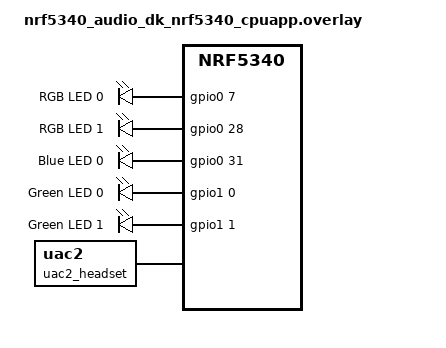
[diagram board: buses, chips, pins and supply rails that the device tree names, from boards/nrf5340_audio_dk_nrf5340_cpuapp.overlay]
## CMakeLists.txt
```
#
# Copyright (c) 2022 Nordic Semiconductor ASA
#
# SPDX-License-Identifier: LicenseRef-Nordic-5-Clause
#

cmake_minimum_required(VERSION 3.20.0)

# Flag which defines whether application is compiled as gateway/dongle or headset
add_compile_definitions(HEADSET=1)
add_compile_definitions(GATEWAY=2)

find_package(Zephyr REQUIRED HINTS $ENV{ZEPHYR_BASE})

# Test a configuration file option has been given
if(NOT DEFINED EXTRA_CONF_FILE)
    message(FATAL_ERROR "No configuration file specified, set -- -DEXTRA_CONF_FILE=<configuration file>")
endif()

project(NRF5340_AUDIO)

string(TIMESTAMP NRF5340_AUDIO_CORE_APP_COMP_DATE "%a %b %d %H:%M:%S %Y")

# Generate fw_info_app.c
configure_file("${CMAKE_CURRENT_SOURCE_DIR}/src/utils/fw_info_app.c.in"
               "${CMAKE_BINARY_DIR}/fw_info_app.c"
               @ONLY)

# Target sources below are specific to the nRF5340 Audio DK HW
target_sources(app PRIVATE
    ${CMAKE_BINARY_DIR}/fw_info_app.c
    )

if (CONFIG_BT_BAP_BROADCAST_SINK)
	add_subdirectory(broadcast_sink)
endif()

if (CONFIG_BT_BAP_BROADCAST_SOURCE)
	add_subdirectory(broadcast_source)
endif()

if (CONFIG_BT_BAP_UNICAST_CLIENT)
	add_subdirectory(unicast_client)
endif()

if (CONFIG_BT_BAP_UNICAST_SERVER)
	add_subdirectory(unicast_server)
endif()

include(${ZEPHYR_BASE}/samples/subsys/usb/common/common.cmake)

# Include application events and configuration headers
zephyr_library_include_directories(
    include
    src/audio
    src/bluetooth
    src/drivers
    src/modules
    src/utils
    src/utils/macros
)

zephyr_library_include_directories(app PRIVATE
    ${ZEPHYR_NRF_MODULE_DIR}/boards/arm/nrf5340_audio_dk_nrf5340)

# Application sources
add_subdirectory(src/audio)
add_subdirectory(src/bluetooth)
add_subdirectory(src/drivers)
add_subdirectory(src/modules)
add_subdirectory(src/utils)

## Cirrus Logic
if (CONFIG_HW_CODEC_CIRRUS_LOGIC)
    if (ZEPHYR_CIRRUS_LOGIC_MODULE_DIR)
        add_subdirectory(${ZEPHYR_CIRRUS_LOGIC_MODULE_DIR} cirrus_logic_bin_dir)
    else()
        message(FATAL_ERROR "Cirrus Logic/sdk-mcu-drivers repository not found\n")
    endif()
endif()
```

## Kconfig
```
#
# Copyright (c) 2018 Nordic Semiconductor ASA
#
# SPDX-License-Identifier: LicenseRef-Nordic-5-Clause
#

menuconfig NRF5340_AUDIO
	 bool "nRF5340 Audio [EXPERIMENTAL]"
	 select EXPERIMENTAL

if NRF5340_AUDIO

config CUSTOM_BROADCASTER
	bool "Allow custom broadcasters"
	default n
	help
	  Incomplete feature for now, but will introduce support for multiple BIGs and subgroups.

config AUDIO_DEV
	int "Select which device type to compile for. 1=HEADSET or 2=GATEWAY"
	range 1 2
	default 1
	help
	  Setting this variable to 1 selects that the project is compiled
	  as a HEADSET device.
	  Setting to 2 will compile as a GATEWAY.

choice NRF5340_AUDIO_TRANSPORT_MODE
	prompt "Choose BIS or CIS for ISO transport"
	default TRANSPORT_CIS if WALKIE_TALKIE_DEMO
	default TRANSPORT_CIS

config TRANSPORT_BIS
	bool "Use BIS (Broadcast Isochronous Stream)"

config TRANSPORT_CIS
	bool "Use CIS (Connected Isochronous Stream)"

endchoice

#----------------------------------------------------------------------------#
rsource "Kconfig.defaults"
rsource "src/audio/Kconfig"
rsource "src/bluetooth/Kconfig"
rsource "src/drivers/Kconfig"
rsource "src/modules/Kconfig"
rsource "src/utils/Kconfig"

#----------------------------------------------------------------------------#
menu "Logging"

module = MAIN
module-str = main
source "subsys/logging/Kconfig.template.log_config"

config PRINT_STACK_USAGE_MS
	depends on THREAD_ANALYZER && INIT_STACKS
	int "Print stack usage every x milliseconds"
	default 5000

endmenu # Log levels

#----------------------------------------------------------------------------#
endif # NRF5340_AUDIO

source "${ZEPHYR_BASE}/samples/subsys/usb/common/Kconfig.sample_usbd"
source "Kconfig.zephyr"
```

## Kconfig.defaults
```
#
# Copyright (c) 2022 Nordic Semiconductor ASA
#
# SPDX-License-Identifier: LicenseRef-Nordic-5-Clause
#

config REBOOT
	default y

config MAIN_THREAD_PRIORITY
	default 10

config MAIN_STACK_SIZE
	default 1800 if SD_CARD_PLAYBACK
	default 1600

config SYSTEM_WORKQUEUE_STACK_SIZE
	default 1200

# As long as thread names are used, config must be set to "y"
config THREAD_NAME
	default y

# Workaround to not use fatal_error.c in NCS. Note that the system may still
# reset on error depending on the build configuraion
config RESET_ON_FATAL_ERROR
	default n

# Default Config for Debug and Release build
config BT
	default y

config ZBUS
	default y

config ZBUS_RUNTIME_OBSERVERS
	default y

config ZBUS_MSG_SUBSCRIBER
	default y

config SENSOR
	default n

config REGULATOR
	default n

config CONTIN_ARRAY
	default y

config NRFX_I2S0
	default n

config PCM_MIX
	default y

config PSCM
	default y

# Enable NRFX_CLOCK for ACLK control
config NRFX_CLOCK
	default n

config I2C
	default n

# Audio codec LC3 related defines
# FPU_SHARING enables preservation of the hardware floating point registers
# across context switches to allow multiple threads to perform concurrent
# floating point operations.
config FPU
	default y

config FPU_SHARING
	default y

# Enable SDHC interface
config DISK_DRIVERS
	default n

config DISK_DRIVER_SDMMC
	default n

# Enable SPI interface
config SPI
	default n

# Enable ADC for board version readback
config ADC
	default n

# Allocate buffer on RAM for transferring chunck of data
# from Flash to SPI
config SPI_NRFX_RAM_BUFFER_SIZE
	default 8

# Config the file system
config FILE_SYSTEM
	default n

config FAT_FILESYSTEM_ELM
	default n

config FS_FATFS_LFN
	default n
choice FS_FATFS_LFN_MODE
	# Using stack for LFN work queue
	default FS_FATFS_LFN_MODE_STACK
endchoice

# exFAT enabled to support longer file names and higher transfer speed
config FS_FATFS_EXFAT
	default n

config WATCHDOG
	default n

config TASK_WDT
	default n
```

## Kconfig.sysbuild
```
#
# Copyright (c) 2024 Nordic Semiconductor
#
# SPDX-License-Identifier: LicenseRef-Nordic-5-Clause
#

source "${ZEPHYR_BASE}/share/sysbuild/Kconfig"

config NRF_DEFAULT_IPC_RADIO
	default y

config NETCORE_IPC_RADIO_BT_HCI_IPC
	default y

source "share/sysbuild/Kconfig"
```

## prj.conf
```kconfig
#
# Copyright (c) 2022 Nordic Semiconductor ASA
#
# SPDX-License-Identifier: LicenseRef-Nordic-5-Clause
#

# nRF5340 Audio
CONFIG_NRF5340_AUDIO=y
CONFIG_SAMPLE_RATE_CONVERTER=y
CONFIG_SAMPLE_RATE_CONVERTER_FILTER_SIMPLE=y

# General
#CONFIG_DEBUG=y
#CONFIG_DEBUG_INFO=y
CONFIG_ASSERT=y
#CONFIG_STACK_USAGE=y
CONFIG_THREAD_RUNTIME_STATS=y
CONFIG_STACK_SENTINEL=y
CONFIG_INIT_STACKS=y
CONFIG_BT=y
CONFIG_NET_BUF_POOL_USAGE=y

# Uart driver
CONFIG_SERIAL=y

# Logging
CONFIG_LOG=y
CONFIG_LOG_TAG_MAX_LEN=2
CONFIG_LOG_TAG_DEFAULT="--"
CONFIG_LOG_BACKEND_UART=y
CONFIG_LOG_BUFFER_SIZE=2048
CONFIG_BT_SECURITY_ERR_TO_STR=y

# Use this for debugging thread usage
#CONFIG_LOG_THREAD_ID_PREFIX=y

# Console related defines
CONFIG_CONSOLE=n
CONFIG_RTT_CONSOLE=n
CONFIG_UART_CONSOLE=n

# Shell related defines
CONFIG_SHELL=y
CONFIG_KERNEL_SHELL=y
CONFIG_USE_SEGGER_RTT=n
## Disable logs on RTT
CONFIG_SHELL_RTT_INIT_LOG_LEVEL_NONE=n
CONFIG_SHELL_BACKEND_RTT=n
CONFIG_SHELL_BACKEND_SERIAL=y
CONFIG_SHELL_VT100_COMMANDS=y
CONFIG_SHELL_VT100_COLORS=y
CONFIG_SHELL_STACK_SIZE=2048
CONFIG_SHELL_CMD_BUFF_SIZE=128
## Reduce shell memory usage
CONFIG_SHELL_WILDCARD=n
CONFIG_SHELL_HELP_ON_WRONG_ARGUMENT_COUNT=n
CONFIG_SHELL_STATS=n
CONFIG_SHELL_CMDS=n
CONFIG_SHELL_HISTORY=y

# Turn off default shell commands
CONFIG_I2C_SHELL=n
CONFIG_HWINFO_SHELL=n
CONFIG_CLOCK_CONTROL_NRF_SHELL=n
CONFIG_FLASH_SHELL=n
CONFIG_DEVICE_SHELL=n

# Suppress LOG_ERR messages from sd_check_card_type. Because SPI_SDHC has no card presence method,
# assume card is in slot. Thus error message is always shown if card is not inserted
CONFIG_SD_LOG_LEVEL_OFF=y

# Suppress LOG_INF messages from hci_core
CONFIG_BT_HCI_CORE_LOG_LEVEL_WRN=y

# BT related configs
CONFIG_BT_ISO_TX_BUF_COUNT=3
CONFIG_BT_BUF_ACL_TX_COUNT=3
CONFIG_BT_ATT_TX_COUNT=12

#CONFIG_BT_AUDIO_PREF_SAMPLE_RATE_24KHZ=y
#CONFIG_BT_AUDIO_PRESENTATION_DELAY_US=40000
#CONFIG_BT_AUDIO_BITRATE_BROADCAST_SRC=64000


CONFIG_BT_DEVICE_NAME="OZLO"
CONFIG_BT_LOG_SNIFFER_INFO=y

CONFIG_USB_DEVICE_STACK_NEXT=y
CONFIG_UDC_NRF_THREAD_STACK_SIZE=1024
CONFIG_USBD_THREAD_STACK_SIZE=2048
CONFIG_UDC_DRIVER_HIGH_SPEED_SUPPORT_ENABLED=n
CONFIG_USBD_MAX_SPEED_FULL=y

CONFIG_DEVICE_LOCATION_SET_RUNTIME=n
CONFIG_USBD_AUDIO2_CLASS=y

CONFIG_SPIN_VALIDATE=n
CONFIG_NRFX_CLOCK=n
#CONFIG_BT_BONDABLE=n
CONFIG_DEBUG=n
CONFIG_DEBUG_INFO=n
#CONFIG_STACK_USAGE=n
#CONFIG_STACK_SENTINEL=n
CONFIG_SPIN_VALIDATE=n

#CONFIG_IPC_RADIO_BT=y
#CONFIG_IPC_RADIO_BT_HCI_IPC=y
CONFIG_STREAM_BIDIRECTIONAL=n
CONFIG_SOC_NRF54H20_CPURAD_ENABLE=y
CONFIG_UDC_NRF=y

CONFIG_MAIN_STACK_SIZE=4096
CONFIG_SYSTEM_WORKQUEUE_STACK_SIZE=4069
CONFIG_USB_DRIVER_LOG_LEVEL_OFF=y
#CONFIG_THREAD_ANALYZER=y
#CONFIG_THREAD_ANALYZER_USE_PRINTK=y
#CONFIG_THREAD_ANALYZER_AUTO=y
#CONFIG_THREAD_ANALYZER_AUTO_INTERVAL=5
CONFIG_THREAD_NAME=y
CONFIG_HEAP_MEM_POOL_SIZE=8192


CONFIG_LOG=y
CONFIG_PRINTK=y
CONFIG_LOG_MODE_DEFERRED=n
CONFIG_ASSERT=y
CONFIG_DEBUG_INFO=y
CONFIG_THREAD_STACK_INFO=y

CONFIG_USBD_LOG_LEVEL_OFF=y
CONFIG_UDC_DRIVER_LOG_LEVEL_OFF=y

CONFIG_BT_KEYS_OVERWRITE_OLDEST=y
CONFIG_BT_SMP_ALLOW_UNAUTH_OVERWRITE=y

CONFIG_BT_PRIVACY=n
```

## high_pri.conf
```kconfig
# Setting for high-pri broadcaster
# $ west build -b nrf5340_audio_dk_nrf5340_cpuapp -d build_high_pri -p -- -DCONFIG_AUDIO_DEV=2 -DCONFIG_BT_LL_ACS_NRF53=n -DOVERLAY_CONFIG=high_pri.conf
CONFIG_BLE_ACL_EXT_ADV_INT_MIN=0x30
CONFIG_BLE_ACL_EXT_ADV_INT_MAX=0x40
CONFIG_BT_AUDIO_USE_BROADCAST_NAME_ALT=y
CONFIG_AUDIO_SOURCE_I2S=y
CONFIG_BUTTON_DEBOUNCE_MS=10
```

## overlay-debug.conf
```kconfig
#
# Copyright (c) 2022 Nordic Semiconductor ASA
#
# SPDX-License-Identifier: LicenseRef-Nordic-5-Clause
#

# General
CONFIG_DEBUG=y
CONFIG_DEBUG_INFO=y
CONFIG_ASSERT=y
CONFIG_STACK_USAGE=y
CONFIG_THREAD_RUNTIME_STATS=y
CONFIG_STACK_SENTINEL=y
CONFIG_INIT_STACKS=y

# Uart driver
CONFIG_SERIAL=y

# Logging
CONFIG_LOG=y
CONFIG_LOG_MODE_DEFERRED=y
CONFIG_LOG_BACKEND_UART=y
CONFIG_LOG_BACKEND_RTT=n
CONFIG_LOG_DEFAULT_LEVEL=4
CONFIG_NEWLIB_LIBC_FLOAT_PRINTF=y
CONFIG_LOG_TAG_MAX_LEN=2
CONFIG_LOG_TAG_DEFAULT="--"

# Console related defines
CONFIG_CONSOLE=y
CONFIG_RTT_CONSOLE=y
CONFIG_UART_CONSOLE=y

# Shell related defines
CONFIG_SHELL=y
CONFIG_KERNEL_SHELL=y
CONFIG_USE_SEGGER_RTT=y
## Disable logs on RTT
CONFIG_SHELL_RTT_INIT_LOG_LEVEL_NONE=y
CONFIG_SHELL_BACKEND_RTT=y
CONFIG_SHELL_BACKEND_SERIAL=n
CONFIG_SHELL_VT100_COLORS=y
CONFIG_SHELL_STACK_SIZE=1024
CONFIG_SHELL_CMD_BUFF_SIZE=128
## Reduce shell memory usage
CONFIG_SHELL_WILDCARD=n
CONFIG_SHELL_HELP_ON_WRONG_ARGUMENT_COUNT=n
CONFIG_SHELL_STATS=n
CONFIG_SHELL_CMDS=n
CONFIG_SHELL_HISTORY=y

# Turn off default shell commands
CONFIG_I2C_SHELL=n
CONFIG_HWINFO_SHELL=n
CONFIG_CLOCK_CONTROL_NRF_SHELL=n
CONFIG_FLASH_SHELL=n
CONFIG_DEVICE_SHELL=n

# Enable BT debug
CONFIG_BT_DEBUG_LOG=y
CONFIG_BT_LOG_LEVEL_WRN=y
CONFIG_LOG_AUDIO_DATAPATH_LEVEL=0
```

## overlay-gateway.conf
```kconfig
#
# Copyright (c) 2022 Nordic Semiconductor ASA
#
# SPDX-License-Identifier: LicenseRef-Nordic-5-Clause
#

# Set as gateway device
CONFIG_AUDIO_DEV=2

# General
CONFIG_BT_CENTRAL=y
CONFIG_BT_BROADCASTER=y
CONFIG_BT_VCS_CLIENT=y
CONFIG_BT_DEVICE_NAME="NRF5340_AUDIO"
CONFIG_SYSTEM_WORKQUEUE_STACK_SIZE=4096

# USB related configs
CONFIG_USB_DEVICE_STACK=y

# Avoid redundant warnings for endpoint setting in USB stack
CONFIG_USB_DRIVER_LOG_LEVEL_ERR=y
CONFIG_USB_DEVICE_LOG_LEVEL_ERR=y

# Net buf options needed for USB stack
CONFIG_NET_BUF=y
# Size of 1ms of stereo audio in bytes (48kHz, 16 bit)
CONFIG_NET_BUF_USER_DATA_SIZE=192

# USB audio related configs
CONFIG_USB_DEVICE_AUDIO=y
## TODO: Nordic VID, change accordingly
CONFIG_USB_DEVICE_VID=0x1915
## TODO: Change for final product
CONFIG_USB_DEVICE_PID=0x530A
CONFIG_USB_DEVICE_PRODUCT="nRF5340 USB Audio"
CONFIG_USB_DEVICE_MANUFACTURER="Nordic Semiconductor AS"

# Dual headsets demo requires gateway to establish two ACL connections
# and two ISO connections
CONFIG_BT_MAX_CONN=1
CONFIG_BT_ISO_MAX_CHAN=1
CONFIG_BT_MAX_PAIRED=1

CONFIG_LC3_ENC_CHAN_MAX=2
CONFIG_LC3_DEC_CHAN_MAX=1
```

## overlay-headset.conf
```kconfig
#
# Copyright (c) 2022 Nordic Semiconductor ASA
#
# SPDX-License-Identifier: LicenseRef-Nordic-5-Clause
#

# Set as headset device
CONFIG_AUDIO_DEV=1

# LC3
CONFIG_LC3_ENC_CHAN_MAX=1
CONFIG_LC3_DEC_CHAN_MAX=1

# ***** CIS *****
# --- REMOVE THE ONES THAT ARE NOT NEEDED ---
CONFIG_BT_PERIPHERAL=y
CONFIG_BT_GAP_PERIPHERAL_PREF_PARAMS=n
CONFIG_BT_MAX_CONN=1
CONFIG_BT_ISO_MAX_CHAN=1
CONFIG_BT_AUDIO_UNICAST_SERVER=y
CONFIG_BT_ASCS_ASE_SNK_COUNT=1
CONFIG_BT_ASCS_ASE_SRC_COUNT=0

# ***** BIS *****
#CONFIG_TRANSPORT_BIS=y
#CONFIG_BT_AUDIO_BROADCAST_SINK=y
#CONFIG_BT_DEVICE_NAME="Broadcast Audio Sink"
```

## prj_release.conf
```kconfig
#
# Copyright (c) 2022 Nordic Semiconductor ASA
#
# SPDX-License-Identifier: LicenseRef-Nordic-5-Clause
#

# nRF5340 Audio
CONFIG_NRF5340_AUDIO=y

CONFIG_SAMPLE_RATE_CONVERTER=y
CONFIG_SAMPLE_RATE_CONVERTER_FILTER_SIMPLE=y

# General
CONFIG_DEBUG=n
CONFIG_ASSERT=n
CONFIG_STACK_USAGE=n
CONFIG_THREAD_MONITOR=n
CONFIG_SERIAL=n
CONFIG_CONSOLE=n
CONFIG_PRINTK=n
CONFIG_UART_CONSOLE=n
CONFIG_BOOT_BANNER=n


CONFIG_USB_DEVICE_STACK_NEXT=y

#CONFIG_BT_AUDIO_PREF_SAMPLE_RATE_16KHZ=y
CONFIG_STREAM_BIDIRECTIONAL=y
CONFIG_UDC_NRF_THREAD_STACK_SIZE=1024
CONFIG_USBD_THREAD_STACK_SIZE=2048
CONFIG_MAIN_STACK_SIZE=2048
CONFIG_SYSTEM_WORKQUEUE_STACK_SIZE=4192
CONFIG_BT_AUDIO_PREF_SAMPLE_RATE_24KHZ=y

CONFIG_BT_LOG_SNIFFER_INFO=y
CONFIG_USBD_HID_SUPPORT=y

CONFIG_USBD_LOG_LEVEL_OFF=y
CONFIG_USBD_HID_LOG_LEVEL_OFF=y
CONFIG_UDC_DRIVER_LOG_LEVEL_OFF=y
#CONFIG_AUDIO_SOURCE_I2S=y
CONFIG_BLE_ACL_CONN_INTERVAL=6
CONFIG_BLE_ACL_CONN_INTERVAL_SLOW=6
CONFIG_BT_AUTO_PHY_UPDATE=y
CONFIG_USBD_HID_OUT_BUF_COUNT=256
CONFIG_USBD_HID_IN_BUF_COUNT=256
CONFIG_USBD_UAC2_LOG_LEVEL_OFF=y
CONFIG_MONO_TO_ALL_RECEIVERS=y



# Bluetooth
# Default value from src/bluetooth/Kconfig.defaults.
# BT_PRIVACY is default turned off to ease the development.
# Should be turned on before production.
# CONFIG_BT_PRIVACY=y

# USB
# Default values from src/modules/Kconfig.defaults.
# USB VID and PID must be changed before production.
# CONFIG_USB_DEVICE_VID=0x1915
# CONFIG_USB_DEVICE_PID=0x530A
```

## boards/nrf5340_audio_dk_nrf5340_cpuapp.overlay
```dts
/*
 * Copyright (c) 2025 Nordic Semiconductor ASA
 *
 * SPDX-License-Identifier: LicenseRef-Nordic-5-Clause
 */

#include <dt-bindings/led/led.h>

/ {
	audioleds: audioleds {
		compatible = "gpio-leds";
		status = "okay";

		led_device_type: led_device_type {
			gpios = <&gpio0 7 GPIO_ACTIVE_HIGH>,
					<&gpio0 25 GPIO_ACTIVE_HIGH>,
					<&gpio0 26 GPIO_ACTIVE_HIGH>;
			label = "RGB LED 0";
		};

		rgb2: rgb-2 {
			gpios = <&gpio0 28 GPIO_ACTIVE_HIGH>,
					<&gpio0 29 GPIO_ACTIVE_HIGH>,
					<&gpio0 30 GPIO_ACTIVE_HIGH>;
			label = "RGB LED 1";
		};

		led_conn_status: led_conn_status {
			gpios = <&gpio0 31 GPIO_ACTIVE_HIGH>;
			label = "Blue LED 0";
		};

		led_sync_status: led_sync_status {
			gpios = <&gpio1 0 GPIO_ACTIVE_HIGH>;
			label = "Green LED 0";
		};

		led_app_status: led_app_status {
			gpios = <&gpio1 1 GPIO_ACTIVE_HIGH>;
			label = "Green LED 1";
		};
	};
};

 #include <dt-bindings/usb/audio.h>

 / {
	 uac2_headset: usb_audio2 {
		 compatible = "zephyr,uac2";
		 status = "okay";
		 full-speed;
		 audio-function = <AUDIO_FUNCTION_HEADSET>;
 
		 uac_aclk: aclk {
			 compatible = "zephyr,uac2-clock-source";
			 clock-type = "internal-programmable";
			 frequency-control = "host-programmable";
			 sampling-frequencies = <48000>;
			 sof-synchronized;
		 };
 
		 out_terminal: out_terminal {
			 compatible = "zephyr,uac2-input-terminal";
			 clock-source = <&uac_aclk>;
			 terminal-type = <USB_TERMINAL_STREAMING>;
			 front-left;
			 front-right;
		 };
 
		 headphones_output: headphones {
			 compatible = "zephyr,uac2-output-terminal";
			 data-source = <&out_terminal>;
			 clock-source = <&uac_aclk>;
			 terminal-type = <BIDIRECTIONAL_TERMINAL_HEADSET>;
			 assoc-terminal = <&mic_input>;
		 };
 
		 mic_input: microphone {
			 compatible = "zephyr,uac2-input-terminal";
			 clock-source = <&uac_aclk>;
			 terminal-type = <BIDIRECTIONAL_TERMINAL_HEADSET>;
			 /* Circular reference, macros will figure it out and
			  * provide correct associated terminal ID because the
			  * terminals associations are always 1-to-1.
			  *
			  * assoc-terminal = <&headphones_output>;
			  */
			 front-left;
		 };
 
		 in_terminal: in_terminal {
			 compatible = "zephyr,uac2-output-terminal";
			 data-source = <&mic_input>;
			 clock-source = <&uac_aclk>;
			 terminal-type = <USB_TERMINAL_STREAMING>;
		 };
 
		 as_iso_out: out_interface {
			 compatible = "zephyr,uac2-audio-streaming";
			 linked-terminal = <&out_terminal>;
			 subslot-size = <2>;
			 bit-resolution = <16>;
		 };
 
		 as_iso_in: in_interface {
			 compatible = "zephyr,uac2-audio-streaming";
			 linked-terminal = <&in_terminal>;
			 subslot-size = <2>;
			 bit-resolution = <16>;
		 };
	 };
 };
 
```

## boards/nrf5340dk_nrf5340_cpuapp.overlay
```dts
/*
 * Copyright (c) 2024 Nordic Semiconductor ASA
 *
 * SPDX-License-Identifier: LicenseRef-Nordic-5-Clause
 */

/ {
	audioleds: audioleds {
		compatible = "gpio-leds";
		status = "okay";

		led_conn_status: led_conn_status {
			gpios = <&gpio0 28 GPIO_ACTIVE_LOW>;
			label = "Green LED 0";
		};

		led_sync_status: led_sync_status {
			gpios = <&gpio0 29 GPIO_ACTIVE_LOW>;
			label = "Green LED 1";
		};

		led_app_status: led_app_status {
			gpios = <&gpio0 30 GPIO_ACTIVE_LOW>;
			label = "Green LED 2";
		};
	};

	ramdisk0: ramdisk0 {
		compatible = "zephyr,ram-disk";
		disk-name = "RAM";
		sector-size = <512>;
		sector-count = <80>;
	};
};

&pinctrl {
	i2s0_default: i2s0_default {
		group1 {
			psels = <NRF_PSEL(I2S_MCK, 0, 12)>;
			nordic,drive-mode = <NRF_DRIVE_H0H1>;
		};

		group2 {
			psels = <NRF_PSEL(I2S_SCK_M, 0, 14)>,
			<NRF_PSEL(I2S_LRCK_M, 0, 16)>,
			<NRF_PSEL(I2S_SDOUT, 0, 13)>,
			<NRF_PSEL(I2S_SDIN, 0, 15)>;
		};
	};

	i2s0_sleep: i2s0_sleep {
		group1 {
			psels = <NRF_PSEL(I2S_MCK, 0, 12)>,
			<NRF_PSEL(I2S_SCK_M, 0, 14)>,
			<NRF_PSEL(I2S_LRCK_M, 0, 16)>,
			<NRF_PSEL(I2S_SDOUT, 0, 13)>,
			<NRF_PSEL(I2S_SDIN, 0, 15)>;
			low-power-enable;
		};
	};
};

&i2s0 {
	compatible = "nordic,nrf-i2s";
	status = "okay";
	pinctrl-0 = <&i2s0_default>;
	pinctrl-1 = <&i2s0_sleep>;
	pinctrl-names = "default", "sleep";
};
```

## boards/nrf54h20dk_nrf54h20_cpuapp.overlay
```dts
/*
 * Copyright (c) 2024 Nordic Semiconductor ASA
 *
 * SPDX-License-Identifier: LicenseRef-Nordic-5-Clause
 */

/* Shrink ppr partition as ppr core is not used and extend app core code partition. */
&cpuppr_code_partition {
	reg = < 0xf8000 DT_SIZE_K(32) >;
};

&cpuapp_slot0_partition {
	reg = < 0xa6000 DT_SIZE_K(1140) >;
};
/ {
	cpu_app_local_ram: memory@22000000 {
		compatible = "zephyr,memory-region";
		reg = <0x22000000 DT_SIZE_K(32)>;
		status = "okay";
		zephyr,memory-region = "LOCAL_RAM_APP";
	};
};
#include <dt-bindings/usb/audio.h>

 / {
	 uac2_headset: usb_audio2 {
		 compatible = "zephyr,uac2";
		 status = "okay";
		 full-speed;
		 high-speed;
		 audio-function = <AUDIO_FUNCTION_HEADSET>;
 
		 uac_aclk: aclk {
			 compatible = "zephyr,uac2-clock-source";
			 clock-type = "internal-programmable";
			 frequency-control = "host-programmable";
			 sampling-frequencies = <48000>;
			 sof-synchronized;
		 };
 
		 out_terminal: out_terminal {
			 compatible = "zephyr,uac2-input-terminal";
			 clock-source = <&uac_aclk>;
			 terminal-type = <USB_TERMINAL_STREAMING>;
			 front-left;
			 front-right;
		 };
 
		 headphones_output: headphones {
			 compatible = "zephyr,uac2-output-terminal";
			 data-source = <&out_terminal>;
			 clock-source = <&uac_aclk>;
			 terminal-type = <BIDIRECTIONAL_TERMINAL_HEADSET>;
			 assoc-terminal = <&mic_input>;
		 };
 
		 mic_input: microphone {
			 compatible = "zephyr,uac2-input-terminal";
			 clock-source = <&uac_aclk>;
			 terminal-type = <BIDIRECTIONAL_TERMINAL_HEADSET>;
			 /* Circular reference, macros will figure it out and
			  * provide correct associated terminal ID because the
			  * terminals associations are always 1-to-1.
			  *
			  * assoc-terminal = <&headphones_output>;
			  */
			 front-left;
		 };
 
		 in_terminal: in_terminal {
			 compatible = "zephyr,uac2-output-terminal";
			 data-source = <&mic_input>;
			 clock-source = <&uac_aclk>;
			 terminal-type = <USB_TERMINAL_STREAMING>;
		 };
 
		 as_iso_out: out_interface {
			 compatible = "zephyr,uac2-audio-streaming";
			 linked-terminal = <&out_terminal>;
			 subslot-size = <2>;
			 bit-resolution = <16>;
		 };
 
		 as_iso_in: in_interface {
			 compatible = "zephyr,uac2-audio-streaming";
			 linked-terminal = <&in_terminal>;
			 subslot-size = <2>;
			 bit-resolution = <16>;
		 };
	 };
 };

/ {
	audioleds: audioleds {
		compatible = "gpio-leds";
		status = "okay";

		led_conn_status: led_conn_status {
			gpios = <&gpio9 0 GPIO_ACTIVE_LOW>;
			label = "Green LED 0";
		};

		led_sync_status: led_sync_status {
			gpios = <&gpio9 1 GPIO_ACTIVE_LOW>;
			label = "Green LED 1";
		};

		led_app_status: led_app_status {
			gpios = <&gpio9 2 GPIO_ACTIVE_LOW>;
			label = "Green LED 2";
		};
	};
/* 
	ramdisk0: ramdisk0 {
		compatible = "zephyr,ram-disk";
		disk-name = "RAM";
		sector-size = <512>;
		sector-count = <80>;
	};
	*/
};



 
```

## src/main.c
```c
/*
 * Copyright (c) 2018 Nordic Semiconductor ASA
 *
 * SPDX-License-Identifier: LicenseRef-Nordic-5-Clause
 */

#include <zephyr/kernel.h>
#include <zephyr/device.h>
#include <zephyr/bluetooth/bluetooth.h>
#include <zephyr/zbus/zbus.h>

#include "macros_common.h"
#include "nrf5340_audio_common.h"
#include "fw_info_app.h"
#include "led.h"
#include "button_handler.h"
#include "button_assignments.h"
#include "nrfx_clock.h"
#include "sd_card.h"
#include "bt_mgmt.h"
#include "board_version.h"
#include "channel_assignment.h"
#include "streamctrl.h"
#include "sd_card_playback.h"

#include <zephyr/logging/log.h>
LOG_MODULE_REGISTER(main, CONFIG_MAIN_LOG_LEVEL);

static struct board_version board_rev;

static int hfclock_config_and_start(void)
{
	int ret;

	/* Use this to turn on 128 MHz clock for cpu_app */
	ret = nrfx_clock_divider_set(NRF_CLOCK_DOMAIN_HFCLK, NRF_CLOCK_HFCLK_DIV_1);

	ret -= NRFX_ERROR_BASE_NUM;
	if (ret) {
		return ret;
	}

	nrfx_clock_hfclk_start();
	while (!nrfx_clock_hfclk_is_running()) {
	}

	return 0;
}

static int leds_set(void)
{
	int ret;

	/* Blink LED 3 to indicate that APP core is running 
	ret = led_blink(LED_APP_3_GREEN);
	if (ret) {
		return ret;
	}
	*/

#if (CONFIG_AUDIO_DEV == HEADSET)
	enum audio_channel channel;

	channel_assignment_get(&channel);

	if (channel == AUDIO_CH_L) {
		ret = led_on(LED_APP_RGB, LED_COLOR_BLUE);
	} else {
		ret = led_on(LED_APP_RGB, LED_COLOR_MAGENTA);
	}

	if (ret) {
		return ret;
	}
#elif (CONFIG_AUDIO_DEV == GATEWAY)
#if !CONFIG_BT_AUDIO_USE_BROADCAST_NAME_ALT
	ret = led_on(LED_APP_RGB, LED_COLOR_GREEN);
	if (ret) {
		return ret;
	}
#else
	ret = led_on(LED_APP_RGB, LED_COLOR_MAGENTA);
	if (ret) {
		return ret;
	}
#endif
#endif /* (CONFIG_AUDIO_DEV == HEADSET) */

	return 0;
}

static int channel_assign_check(void)
{
#if (CONFIG_AUDIO_DEV == HEADSET) && CONFIG_AUDIO_HEADSET_CHANNEL_RUNTIME
	int ret;
	bool pressed;

	ret = button_pressed(BUTTON_VOLUME_DOWN, &pressed);
	if (ret) {
		return ret;
	}

	if (pressed) {
		channel_assignment_set(AUDIO_CH_L);
		return 0;
	}

	ret = button_pressed(BUTTON_VOLUME_UP, &pressed);
	if (ret) {
		return ret;
	}

	if (pressed) {
		channel_assignment_set(AUDIO_CH_R);
		return 0;
	}
#endif

	return 0;
}

int main(void)
{
	int ret;

	LOG_DBG("nRF5340 APP core started");

	ret = hfclock_config_and_start();
	ERR_CHK(ret);

	ret = led_init();
	ERR_CHK(ret);

	ret = button_handler_init();
	ERR_CHK(ret);

	channel_assignment_init();

	ret = channel_assign_check();
	ERR_CHK(ret);

	ret = fw_info_app_print();
	ERR_CHK(ret);

	ret = board_version_valid_check();
	ERR_CHK(ret);

	ret = board_version_get(&board_rev);
	ERR_CHK(ret);

	if (board_rev.mask & BOARD_VERSION_VALID_MSK_SD_CARD) {
		ret = sd_card_init();
		if (ret != -ENODEV) {
			ERR_CHK(ret);
		}
	}

	ret = bt_mgmt_init();
	ERR_CHK(ret);

	ret = leds_set();
	ERR_CHK(ret);

	ret = streamctrl_start();
	ERR_CHK(ret);

	if (IS_ENABLED(CONFIG_SD_CARD_PLAYBACK)) {
		sd_card_playback_init();
	}
}
```

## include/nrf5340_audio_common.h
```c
/*
 * Copyright (c) 2023 Nordic Semiconductor ASA
 *
 * SPDX-License-Identifier: LicenseRef-Nordic-5-Clause
 */

#ifndef _NRF5340_AUDIO_COMMON_H_
#define _NRF5340_AUDIO_COMMON_H_

#include <zephyr/bluetooth/audio/audio.h>

#define ZBUS_READ_TIMEOUT_MS	K_MSEC(100)
#define ZBUS_ADD_OBS_TIMEOUT_MS K_MSEC(200)

/***** Messages for zbus ******/

enum button_action {
	BUTTON_PRESS = 1,
};

struct button_msg {
	uint32_t button_pin;
	enum button_action button_action;
};

enum le_audio_evt_type {
	LE_AUDIO_EVT_CONFIG_RECEIVED = 1,
	LE_AUDIO_EVT_PRES_DELAY_SET,
	LE_AUDIO_EVT_STREAMING,
	LE_AUDIO_EVT_NOT_STREAMING,
	LE_AUDIO_EVT_SYNC_LOST,
	LE_AUDIO_EVT_NO_VALID_CFG,
};

struct le_audio_msg {
	enum le_audio_evt_type event;
	struct bt_conn *conn;
	struct bt_le_per_adv_sync *pa_sync;
	enum bt_audio_dir dir;
};

/**
 * tx_sync_ts_us	The timestamp from get_tx_sync.
 * curr_ts_us		The current time. This must be in the controller frame of reference.
 */
struct sdu_ref_msg {
	uint32_t tx_sync_ts_us;
	uint32_t curr_ts_us;
	bool adjust;
};

enum bt_mgmt_evt_type {
	BT_MGMT_EXT_ADV_WITH_PA_READY = 1,
	BT_MGMT_CONNECTED,
	BT_MGMT_SECURITY_CHANGED,
	BT_MGMT_PA_SYNCED,
	BT_MGMT_PA_SYNC_LOST,
	BT_MGMT_PA_SYNC_TERM,
	BT_MGMT_DISCONNECTED,
	BT_MGMT_BROADCAST_CODE_RECEIVED,
};

struct bt_mgmt_msg {
	enum bt_mgmt_evt_type event;
	struct bt_conn *conn;
	struct bt_le_ext_adv *ext_adv;
	struct bt_le_per_adv_sync *pa_sync;
	uint32_t broadcast_id;
	uint8_t pa_sync_term_reason;
	uint8_t bcode[BT_ISO_BROADCAST_CODE_SIZE];
};

enum volume_evt_type {
	VOLUME_UP = 1,
	VOLUME_DOWN,
	VOLUME_SET,
	VOLUME_MUTE,
	VOLUME_UNMUTE,
};

struct volume_msg {
	enum volume_evt_type event;
	uint8_t volume;
};

enum content_control_evt_type {
	MEDIA_START = 1,
	MEDIA_STOP,
};

struct content_control_msg {
	enum content_control_evt_type event;
};

/**
 * @brief	Initialize the software modules that are common for all the audio samples.
 *
 * @return	0 if successful, error otherwise.
 */
int nrf5340_audio_common_init(void);

#endif /* _NRF5340_AUDIO_COMMON_H_ */
```

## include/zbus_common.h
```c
/*
 * Copyright (c) 2023 Nordic Semiconductor ASA
 *
 * SPDX-License-Identifier: LicenseRef-Nordic-5-Clause
 */

#ifndef _ZBUS_COMMON_H_
#define _ZBUS_COMMON_H_

#include <zephyr/bluetooth/audio/audio.h>

#include "le_audio.h"

#define ZBUS_READ_TIMEOUT_MS	K_MSEC(100)
#define ZBUS_ADD_OBS_TIMEOUT_MS K_MSEC(200)

/***** Messages for zbus ******/

enum button_action {
	BUTTON_PRESS = 1,
};

struct button_msg {
	uint32_t button_pin;
	enum button_action button_action;
};

enum le_audio_evt_type {
	LE_AUDIO_EVT_CONFIG_RECEIVED = 1,
	LE_AUDIO_EVT_PRES_DELAY_SET,
	LE_AUDIO_EVT_STREAMING,
	LE_AUDIO_EVT_NOT_STREAMING,
	LE_AUDIO_EVT_STREAM_SENT,
	LE_AUDIO_EVT_SYNC_LOST,
	LE_AUDIO_EVT_NO_VALID_CFG,
	LE_AUDIO_EVT_COORD_SET_DISCOVERED,
};

struct le_audio_msg {
	enum le_audio_evt_type event;
	struct bt_conn *conn;
	struct bt_le_per_adv_sync *pa_sync;
	enum bt_audio_dir dir;
	uint8_t set_size;
	uint8_t const *sirk;
	struct stream_index idx;
};

/**
 * tx_sync_ts_us	The timestamp from get_tx_sync.
 * curr_ts_us		The current time. This must be in the controller frame of reference.
 */
struct sdu_ref_msg {
	uint32_t tx_sync_ts_us;
	uint32_t curr_ts_us;
	bool adjust;
};

enum bt_mgmt_evt_type {
	BT_MGMT_EXT_ADV_WITH_PA_READY = 1,
	BT_MGMT_CONNECTED,
	BT_MGMT_SECURITY_CHANGED,
	BT_MGMT_PA_SYNCED,
	BT_MGMT_PA_SYNC_LOST,
	BT_MGMT_DISCONNECTED,
	BT_MGMT_BROADCAST_SINK_DISABLE,
	BT_MGMT_BROADCAST_CODE_RECEIVED,
	BT_MGMT_AUDIO_DEVICE_CONNECTED,
	BT_MGMT_HID_DEVICE_CONNECTED
};

struct bt_mgmt_msg {
	enum bt_mgmt_evt_type event;
	struct bt_conn *conn;
	uint8_t index;
	struct bt_le_ext_adv *ext_adv;
	struct bt_le_per_adv_sync *pa_sync;
	uint32_t broadcast_id;
	uint8_t pa_sync_term_reason;
};

enum volume_evt_type {
	VOLUME_UP = 1,
	VOLUME_DOWN,
	VOLUME_SET,
	VOLUME_MUTE,
	VOLUME_UNMUTE,
};

struct volume_msg {
	enum volume_evt_type event;
	uint8_t volume;
};

enum content_control_evt_type {
	MEDIA_START = 1,
	MEDIA_STOP,
};

struct content_control_msg {
	enum content_control_evt_type event;
};

#endif /* _ZBUS_COMMON_H_ */
```

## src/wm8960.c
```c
#include "wm8960.h"
#include <stdint.h>
#include <zephyr/drivers/i2c.h>

int wm8960_write_reg(const struct i2c_dt_spec *spec, uint8_t reg, uint16_t value)
{
	int ret;
    uint8_t send_data[3];
    send_data[0] = reg;
    send_data[1] = (reg << 1); 
    
    // Shift value so only 9th bit is still there, plug it into 0th bit of 
    // control_byte_1
    send_data[1] |= (value >> 8); 

    send_data[2] = (uint8_t)(value & 0xFF);
    printk("%X %X %X\n\r", send_data[0], send_data[1], send_data[2]);
	ret = i2c_write_dt(spec, send_data, 3);
	return ret;
}

int wm8960_write_reg_bit(const struct i2c_dt_spec *spec, uint8_t registerAddress, uint8_t bitNumber,
			 bool bitValue)
{
	int ret;
	uint16_t regvalue = 0;

	if (bitValue == 1) {
		regvalue |= (1 << bitNumber); // Set only the bit we want
	} else {
		regvalue &= ~(1 << bitNumber); // Clear only the bit we want
	}
	ret = wm8960_write_reg(spec, registerAddress, regvalue);
	return ret;
}

int wm8960_write_reg_multi_bit(const struct i2c_dt_spec *spec, uint8_t registerAddress,
			       uint8_t settingMsbNum, uint8_t settingLsbNum, uint8_t setting)
{
	int ret;
	uint8_t numOfBits = (settingMsbNum - settingLsbNum) + 1;

	// Get the local copy of the register
	uint16_t regvalue = 0;

	for (int i = 0; i < numOfBits; i++) {
		regvalue &= ~(1 << (settingLsbNum + i)); // Clear bits we care about
	}

	// Shift and set the bits from in incoming desired setting value
	regvalue |= (setting << settingLsbNum);
	ret = wm8960_write_reg(spec, registerAddress, regvalue);
	return ret;
}

int wm8960_reset(const struct i2c_dt_spec *spec)
{
  // Doesn't matter which bit we flip, writing anything will cause the reset
    return wm8960_write_reg_bit(spec, WM8960_REG_RESET, 7, 1);
}

int wm8960_enableVREF(const struct i2c_dt_spec *spec)
{
	return wm8960_write_reg_bit(spec, WM8960_REG_PWR_MGMT_1, 6, 1);
}
```

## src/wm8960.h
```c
#ifndef _WM8960_H_
#define _WM8960_H_
#include <zephyr/drivers/i2c.h>

// I2C address (7-bit format for Wire library)
#define WM8960_ADDR 0x1A

// WM8960 register addresses
#define WM8960_REG_LEFT_INPUT_VOLUME 0x00
#define WM8960_REG_RIGHT_INPUT_VOLUME 0x01
#define WM8960_REG_LOUT1_VOLUME 0x02
#define WM8960_REG_ROUT1_VOLUME 0x03
#define WM8960_REG_CLOCKING_1 0x04
#define WM8960_REG_ADC_DAC_CTRL_1 0x05
#define WM8960_REG_ADC_DAC_CTRL_2 0x06
#define WM8960_REG_AUDIO_INTERFACE_1 0x07
#define WM8960_REG_CLOCKING_2 0x08
#define WM8960_REG_AUDIO_INTERFACE_2 0x09
#define WM8960_REG_LEFT_DAC_VOLUME 0x0A
#define WM8960_REG_RIGHT_DAC_VOLUME 0x0B
#define WM8960_REG_RESET 0x0F
#define WM8960_REG_3D_CONTROL 0x10
#define WM8960_REG_ALC1 0x11
#define WM8960_REG_ALC2 0x12
#define WM8960_REG_ALC3 0x13
#define WM8960_REG_NOISE_GATE 0x14
#define WM8960_REG_LEFT_ADC_VOLUME 0x15
#define WM8960_REG_RIGHT_ADC_VOLUME 0x16
#define WM8960_REG_ADDITIONAL_CONTROL_1 0x17
#define WM8960_REG_ADDITIONAL_CONTROL_2 0x18
#define WM8960_REG_PWR_MGMT_1 0x19
#define WM8960_REG_PWR_MGMT_2 0x1A
#define WM8960_REG_ADDITIONAL_CONTROL_3 0x1B
#define WM8960_REG_ANTI_POP_1 0x1C
#define WM8960_REG_ANTI_POP_2 0x1D
#define WM8960_REG_ADCL_SIGNAL_PATH 0x20
#define WM8960_REG_ADCR_SIGNAL_PATH 0x21
#define WM8960_REG_LEFT_OUT_MIX_1 0x22
#define WM8960_REG_RIGHT_OUT_MIX_2 0x25
#define WM8960_REG_MONO_OUT_MIX_1 0x26
#define WM8960_REG_MONO_OUT_MIX_2 0x27
#define WM8960_REG_LOUT2_VOLUME 0x28
#define WM8960_REG_ROUT2_VOLUME 0x29
#define WM8960_REG_MONO_OUT_VOLUME 0x2A
#define WM8960_REG_INPUT_BOOST_MIXER_1 0x2B
#define WM8960_REG_INPUT_BOOST_MIXER_2 0x2C
#define WM8960_REG_BYPASS_1 0x2D
#define WM8960_REG_BYPASS_2 0x2E
#define WM8960_REG_PWR_MGMT_3 0x2F
#define WM8960_REG_ADDITIONAL_CONTROL_4 0x30
#define WM8960_REG_CLASS_D_CONTROL_1 0x31
#define WM8960_REG_CLASS_D_CONTROL_3 0x33
#define WM8960_REG_PLL_N 0x34
#define WM8960_REG_PLL_K_1 0x35
#define WM8960_REG_PLL_K_2 0x36
#define WM8960_REG_PLL_K_3 0x37

// PGA input selections
#define WM8960_PGAL_LINPUT2 0
#define WM8960_PGAL_LINPUT3 1
#define WM8960_PGAL_VMID 2
#define WM8960_PGAR_RINPUT2 0
#define WM8960_PGAR_RINPUT3 1
#define WM8960_PGAR_VMID 2

// Mic (aka PGA) BOOST gain options
#define WM8960_MIC_BOOST_GAIN_0DB 0
#define WM8960_MIC_BOOST_GAIN_13DB 1
#define WM8960_MIC_BOOST_GAIN_20DB 2
#define WM8960_MIC_BOOST_GAIN_29DB 3

// Boost Mixer gain options
// These are used to control the gain (aka volume) at the following settings:
// LIN2BOOST
// LIN3BOOST
// RIN2BOOST
// RIN3BOOST
#define WM8960_BOOST_MIXER_GAIN_MUTE 0
#define WM8960_BOOST_MIXER_GAIN_NEG_12DB 1
#define WM8960_BOOST_MIXER_GAIN_NEG_9DB 2
#define WM8960_BOOST_MIXER_GAIN_NEG_6DB 3
#define WM8960_BOOST_MIXER_GAIN_NEG_3DB 4
#define WM8960_BOOST_MIXER_GAIN_0DB 5
#define WM8960_BOOST_MIXER_GAIN_3DB 6
#define WM8960_BOOST_MIXER_GAIN_6DB 7

// Output Mixer gain options
// These are used to control the gain (aka volume) at the following settings:
// LI2LOVOL
// LB2LOVOL
// RI2LOVOL
// RB2LOVOL
// These are useful as analog bypass signal path options.
#define WM8960_OUTPUT_MIXER_GAIN_0DB 0
#define WM8960_OUTPUT_MIXER_GAIN_NEG_3DB 1
#define WM8960_OUTPUT_MIXER_GAIN_NEG_6DB 2
#define WM8960_OUTPUT_MIXER_GAIN_NEG_9DB 3
#define WM8960_OUTPUT_MIXER_GAIN_NEG_12DB 4
#define WM8960_OUTPUT_MIXER_GAIN_NEG_15DB 5
#define WM8960_OUTPUT_MIXER_GAIN_NEG_18DB 6
#define WM8960_OUTPUT_MIXER_GAIN_NEG_21DB 7

// Mic Bias voltage options
#define WM8960_MIC_BIAS_VOLTAGE_0_9_AVDD 0
#define WM8960_MIC_BIAS_VOLTAGE_0_65_AVDD 1

// SYSCLK divide
#define WM8960_SYSCLK_DIV_BY_1 0
#define WM8960_SYSCLK_DIV_BY_2 2
#define WM8960_CLKSEL_MCLK 0
#define WM8960_CLKSEL_PLL 1
#define WM8960_PLL_MODE_INTEGER 0
#define WM8960_PLL_MODE_FRACTIONAL 1
#define WM8960_PLLPRESCALE_DIV_1 0
#define WM8960_PLLPRESCALE_DIV_2 1

// Class d clock divide
#define WM8960_DCLKDIV_16 7

// Word length settings (aka bits per sample)
// Audio Data Word Length
#define WM8960_WL_16BIT 0
#define WM8960_WL_20BIT 1
#define WM8960_WL_24BIT 2
#define WM8960_WL_32BIT 3

// Additional Digital Audio Interface controls
// LRP (aka left-right-polarity)
// Right, left and I2S modes – LRCLK polarity
// 0 = normal LRCLK polarity
// 1 = inverted LRCLK polarity
#define WM8960_LR_POLARITY_NORMAL 0
#define WM8960_LR_POLARITY_INVERT 1

// ALRSWAP (aka ADC left/right swap)
// Left/Right ADC channel swap
// 1 = Swap left and right ADC data in audio interface
// 0 = Output left and right data as normal
#define WM8960_ALRSWAP_NORMAL 0
#define WM8960_ALRSWAP_SWAP 1

// Gain mins, maxes, offsets and step-sizes for all the amps within the codec.
#define WM8960_PGA_GAIN_MIN -17.25
#define WM8960_PGA_GAIN_MAX 30.00
#define WM8960_PGA_GAIN_OFFSET 17.25
#define WM8960_PGA_GAIN_STEPSIZE 0.75
#define WM8960_HP_GAIN_MIN -73.00
#define WM8960_HP_GAIN_MAX 6.00
#define WM8960_HP_GAIN_OFFSET 121.00
#define WM8960_HP_GAIN_STEPSIZE 1.00
#define WM8960_SPEAKER_GAIN_MIN -73.00
#define WM8960_SPEAKER_GAIN_MAX 6.00
#define WM8960_SPEAKER_GAIN_OFFSET 121.00
#define WM8960_SPEAKER_GAIN_STEPSIZE 1.00
#define WM8960_ADC_GAIN_MIN -97.00
#define WM8960_ADC_GAIN_MAX 30.00
#define WM8960_ADC_GAIN_OFFSET 97.50
#define WM8960_ADC_GAIN_STEPSIZE 0.50
#define WM8960_DAC_GAIN_MIN -97.00
#define WM8960_DAC_GAIN_MAX 30.00
#define WM8960_DAC_GAIN_OFFSET 97.50
#define WM8960_DAC_GAIN_STEPSIZE 0.50

// Automatic Level Control Modes
#define WM8960_ALC_MODE_OFF 0
#define WM8960_ALC_MODE_RIGHT_ONLY 1
#define WM8960_ALC_MODE_LEFT_ONLY 2
#define WM8960_ALC_MODE_STEREO 3

// Automatic Level Control Target Level dB
#define WM8960_ALC_TARGET_LEVEL_NEG_22_5DB 0
#define WM8960_ALC_TARGET_LEVEL_NEG_21DB 1
#define WM8960_ALC_TARGET_LEVEL_NEG_19_5DB 2
#define WM8960_ALC_TARGET_LEVEL_NEG_18DB 3
#define WM8960_ALC_TARGET_LEVEL_NEG_16_5DB 4
#define WM8960_ALC_TARGET_LEVEL_NEG_15DB 5
#define WM8960_ALC_TARGET_LEVEL_NEG_13_5DB 6
#define WM8960_ALC_TARGET_LEVEL_NEG_12DB 7
#define WM8960_ALC_TARGET_LEVEL_NEG_10_5DB 8
#define WM8960_ALC_TARGET_LEVEL_NEG_9DB 9
#define WM8960_ALC_TARGET_LEVEL_NEG_7_5DB 10
#define WM8960_ALC_TARGET_LEVEL_NEG_6DB 11
#define WM8960_ALC_TARGET_LEVEL_NEG_4_5DB 12
#define WM8960_ALC_TARGET_LEVEL_NEG_3DB 13
#define WM8960_ALC_TARGET_LEVEL_NEG_1_5DB 14

// Automatic Level Control Max Gain Level dB
#define WM8960_ALC_MAX_GAIN_LEVEL_NEG_12DB 0
#define WM8960_ALC_MAX_GAIN_LEVEL_NEG_6DB 1
#define WM8960_ALC_MAX_GAIN_LEVEL_0DB 2
#define WM8960_ALC_MAX_GAIN_LEVEL_6DB 3
#define WM8960_ALC_MAX_GAIN_LEVEL_12DB 4
#define WM8960_ALC_MAX_GAIN_LEVEL_18DB 5
#define WM8960_ALC_MAX_GAIN_LEVEL_24DB 6
#define WM8960_ALC_MAX_GAIN_LEVEL_30DB 7

// Automatic Level Control Min Gain Level dB
#define WM8960_ALC_MIN_GAIN_LEVEL_NEG_17_25DB 0
#define WM8960_ALC_MIN_GAIN_LEVEL_NEG_11_25DB 1
#define WM8960_ALC_MIN_GAIN_LEVEL_NEG_5_25DB 2
#define WM8960_ALC_MIN_GAIN_LEVEL_0_75DB 3
#define WM8960_ALC_MIN_GAIN_LEVEL_6_75DB 4
#define WM8960_ALC_MIN_GAIN_LEVEL_12_75DB 5
#define WM8960_ALC_MIN_GAIN_LEVEL_18_75DB 6
#define WM8960_ALC_MIN_GAIN_LEVEL_24_75DB 7

// Automatic Level Control Hold Time (MS and SEC)
#define WM8960_ALC_HOLD_TIME_0MS 0
#define WM8960_ALC_HOLD_TIME_3MS 1
#define WM8960_ALC_HOLD_TIME_5MS 2
#define WM8960_ALC_HOLD_TIME_11MS 3
#define WM8960_ALC_HOLD_TIME_21MS 4
#define WM8960_ALC_HOLD_TIME_43MS 5
#define WM8960_ALC_HOLD_TIME_85MS 6
#define WM8960_ALC_HOLD_TIME_170MS 7
#define WM8960_ALC_HOLD_TIME_341MS 8
#define WM8960_ALC_HOLD_TIME_682MS 9
#define WM8960_ALC_HOLD_TIME_1365MS 10
#define WM8960_ALC_HOLD_TIME_3SEC 11
#define WM8960_ALC_HOLD_TIME_5SEC 12
#define WM8960_ALC_HOLD_TIME_10SEC 13
#define WM8960_ALC_HOLD_TIME_23SEC 14
#define WM8960_ALC_HOLD_TIME_44SEC 15

// Automatic Level Control Decay Time (MS and SEC)
#define WM8960_ALC_DECAY_TIME_24MS 0
#define WM8960_ALC_DECAY_TIME_48MS 1
#define WM8960_ALC_DECAY_TIME_96MS 2
#define WM8960_ALC_DECAY_TIME_192MS 3
#define WM8960_ALC_DECAY_TIME_384MS 4
#define WM8960_ALC_DECAY_TIME_768MS 5
#define WM8960_ALC_DECAY_TIME_1536MS 6
#define WM8960_ALC_DECAY_TIME_3SEC 7
#define WM8960_ALC_DECAY_TIME_6SEC 8
#define WM8960_ALC_DECAY_TIME_12SEC 9
#define WM8960_ALC_DECAY_TIME_24SEC 10

// Automatic Level Control Attack Time (MS and SEC)
#define WM8960_ALC_ATTACK_TIME_6MS 0
#define WM8960_ALC_ATTACK_TIME_12MS 1
#define WM8960_ALC_ATTACK_TIME_24MS 2
#define WM8960_ALC_ATTACK_TIME_482MS 3
#define WM8960_ALC_ATTACK_TIME_964MS 4
#define WM8960_ALC_ATTACK_TIME_1928MS 5
#define WM8960_ALC_ATTACK_TIME_3846MS 6
#define WM8960_ALC_ATTACK_TIME_768MS 7
#define WM8960_ALC_ATTACK_TIME_1536MS 8
#define WM8960_ALC_ATTACK_TIME_3SEC 9
#define WM8960_ALC_ATTACK_TIME_6SEC 10

// Speaker Boost Gains (DC and AC)
#define WM8960_SPEAKER_BOOST_GAIN_0DB 0
#define WM8960_SPEAKER_BOOST_GAIN_2_1DB 1
#define WM8960_SPEAKER_BOOST_GAIN_2_9DB 2
#define WM8960_SPEAKER_BOOST_GAIN_3_6DB 3
#define WM8960_SPEAKER_BOOST_GAIN_4_5DB 4
#define WM8960_SPEAKER_BOOST_GAIN_5_1DB 5

int wm8960_write_reg(const struct i2c_dt_spec *spec, uint8_t reg, uint16_t value);
int wm8960_write_reg_bit(const struct i2c_dt_spec *spec, uint8_t registerAddress, uint8_t bitNumber,
			 bool bitValue);
int wm8960_write_reg_multi_bit(const struct i2c_dt_spec *spec, uint8_t registerAddress,
			       uint8_t settingMsbNum, uint8_t settingLsbNum, uint8_t setting);
int wm8960_reset(const struct i2c_dt_spec *spec);
#endif
```
